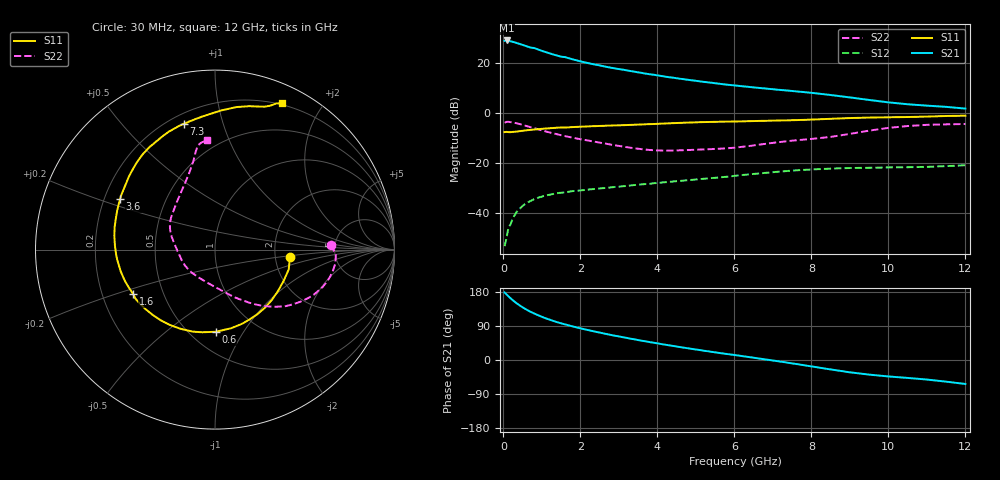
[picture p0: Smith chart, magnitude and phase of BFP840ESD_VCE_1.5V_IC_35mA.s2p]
! Infineon Technologies  Discrete & RF Semiconductors
! BFP840ESD
! VCE =  1.5 V,  IC =  35 mA
! Common Emitter S-Parameters:  May 2012
# GHz  S  MA  R  50
!  f  S11  S21  S12  S22
! GHz  MAG  ANG  MAG  ANG  MAG  ANG  MAG  ANG
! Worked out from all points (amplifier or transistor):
!   93 points, 30 MHz to 12 GHz, reference 50 ohm
!   highest |S21| = 29.1 dB at 80 MHz (marker M1)
!   |S21| within 3 dB of that: start of sweep to 782.2 MHz
!   unconditionally stable (mu >= 1): start of sweep to 305 MHz; 1.932 GHz to 11.39 GHz
!   at 1.1 GHz: K = 0.81, MSG = 28.7 dB, |S12| = -32.8 dB
!   at 4.2 GHz: K = 1.35, MAG = 17.6 dB, |S12| = -27.6 dB
!   at 12 GHz: K = 0.90, MSG = 11.3 dB, |S12| = -20.8 dB
!   S11 on the Smith chart (normalised r, x): 30 MHz: 2.41, -0.26; 600 MHz: 0.66, -0.76; 1.6 GHz: 0.33, -0.23; 3.6 GHz: 0.27, +0.23; 7.3 GHz: 0.26, +0.75; 12 GHz: 0.19, +1.54
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0.03  0.4199 -6.0  28.14 178.1  0.0022 77.8  0.6485 2.3
0.08  0.4253 -15.1  28.66 173.0  0.0032 67.6  0.674 -2.5
0.18  0.42 -33.4  27.53 163.3  0.0059 66.7  0.6677 -10.1
0.33  0.4305 -56.8  25.73 150.6  0.0103 63.8  0.6351 -19.1
0.43  0.4401 -70.2  24.28 143.4  0.0125 61.1  0.6076 -24.1
0.6  0.4578 -89.4  21.96 132.8  0.0161 55.7  0.5568 -31.5
0.7  0.4662 -98.9  20.68 127.4  0.0176 53.9  0.5287 -35.3
0.8  0.4736 -105.2  20.2 122.7  0.0192 50.9  0.5047 -38.6
1  0.4895 -121.0  17.72 113.8  0.0216 46.8  0.4557 -44.4
1.1  0.4966 -127.6  16.73 109.9  0.0228 45.8  0.4333 -46.9
1.3  0.509 -139.0  14.96 102.9  0.0244 42.8  0.3965 -51.4
1.6  0.519 -151.5  13.32 94.0  0.0263 39.8  0.3505 -57.4
2.1  0.5429 -170.9  10.51 81.2  0.0292 37.3  0.294 -66.2
2.8  0.5693 169.6  8.152 66.0  0.033 36.0  0.2361 -79.1
3.6  0.5991 151.9  6.405 50.8  0.0379 35.2  0.1916 -100.9
4.1  0.6207 142.3  5.568 42.1  0.0412 33.9  0.1803 -118.5
5.1  0.6641 128.0  4.351 26.2  0.0482 31.5  0.1884 -150.4
6.1  0.6876 117.5  3.549 11.8  0.0572 28.3  0.2098 -178.2
7.3  0.7222 104.0  2.887 -5.8  0.0694 19.9  0.2731 156.3
8.5  0.7764 87.4  2.323 -24.9  0.0783 8.6  0.3372 129.5
10.5  0.843 70.8  1.518 -47.3  0.0834 -6.7  0.5565 101.1
12  0.8966 65.3  1.243 -63.3  0.0914 -14.1  0.6109 94.1
